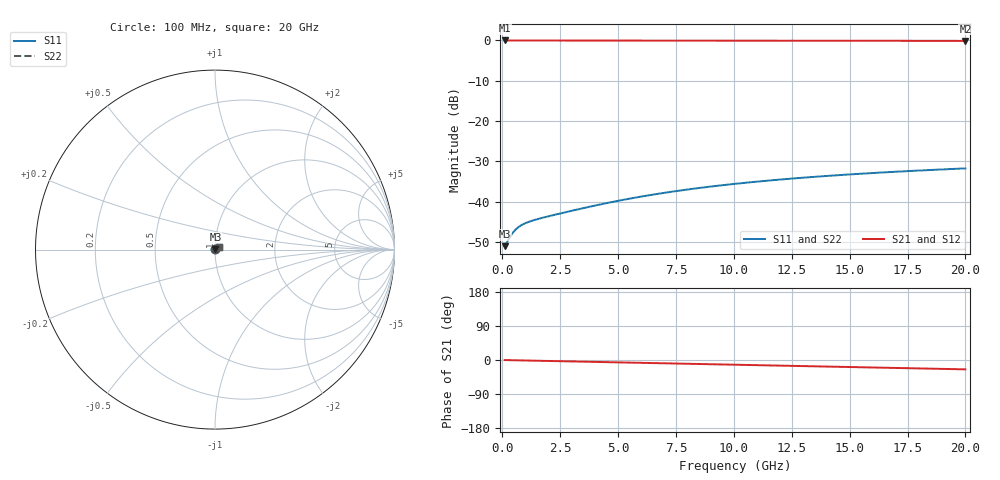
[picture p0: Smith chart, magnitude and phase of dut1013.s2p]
! Touchstone file exported from HFSS 2026.1.0
!  File:  C:/ffzhzh/LocalFiles/Ansys_Project_Files/temp_train_TMRDL_1013_1783159721_22436.aedt
!  Generated:  06:09:48 PM Jul  4, 2026
!  Design:  TMRDL
!  Project:  temp_train_TMRDL_1013_1783159721_22436
! Variables:
!  h_bsmrdl = 2um
!  h_ox = 20um
!  h_rdl = 5um
!  h_sub = 80um
!  h_tmrdl = 2.6um
!  h_tsv = 80um
!  h_via = 3um
!  l_bsmrdl = 300um
!  l_sub = 830.17um
!  l_tmrdl = 430.17um
!  m_sub = 200um
!  pitch = 28.18um
!  r_tsv = 6um
!  s_tmrdl = 10um
!  w_bsmrdl = 18um
!  w_sub = 500um
!  w_tmrdl = 24.17um
!  x_tsv_center1 = 442.255um
!  x_tsv_center2 = 760.255um
!  x_tsv_center3 = 1214.595um
!  x_tsv_center4 = 1532.595um
!  x_tsv_center5 = 1986.935um
!  x_tsv_center6 = 2304.935um
# GHz S MA R 50.000000
! Terminal data exported
! Port[1] = TM_RDL1_1_T1
! Port[2] = TM_RDL1_1_T2
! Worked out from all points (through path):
!   200 points, 100 MHz to 20 GHz, reference 50 ohm
!   highest |S21| = -0.02 dB at 100 MHz (marker M1); lowest = -0.1 dB at 20 GHz (marker M2)
!   group delay of S21, straight-line fit = 3.42 ps
!   lowest |S11| = -51.0 dB at 100 MHz (marker M3), VSWR 1.01, Z = 50.3 + j0.058 ohm
!   |S11| at or under -10 dB: start of sweep to end of sweep
!   |S22| runs from -51.0 to -31.7 dB; largest |S21 - S12| = 2.5e-15
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0.1  0.002823 11.8  0.9972 -0.2  0.9972 -0.2  0.002823 11.8
! Gamma 0 0 0 0
! Port Impedance 50 0 50 0
0.2  0.00314 20.4  0.997 -0.3  0.997 -0.3  0.003145 20.4
0.3  0.003539 25.5  0.9968 -0.4  0.9968 -0.4  0.003547 25.4
0.4  0.003938 28.2  0.9965 -0.6  0.9965 -0.6  0.003947 27.9
0.5  0.004297 29.4  0.9962 -0.7  0.9962 -0.7  0.004306 29.1
0.6  0.004605 30.0  0.996 -0.8  0.996 -0.8  0.004613 29.6
0.7  0.004867 30.3  0.9958 -1.0  0.9958 -1.0  0.004873 29.8
0.9  0.005278 30.5  0.9955 -1.2  0.9955 -1.2  0.005282 30.1
1.2  0.005727 31.3  0.9952 -1.6  0.9952 -1.6  0.005729 30.9
1.6  0.006195 32.9  0.995 -2.1  0.995 -2.1  0.006194 32.6
2.4  0.007062 37.0  0.9946 -3.1  0.9946 -3.1  0.007059 36.9
3.5  0.008357 41.7  0.9942 -4.4  0.9942 -4.4  0.008353 41.7
4.4  0.009504 44.3  0.9938 -5.6  0.9938 -5.6  0.009499 44.3
5.2  0.01056 45.7  0.9935 -6.6  0.9935 -6.6  0.01055 45.7
6.8  0.01267 46.7  0.9927 -8.5  0.9927 -8.5  0.01266 46.8
8.4  0.01472 46.3  0.9918 -10.5  0.9918 -10.5  0.0147 46.4
10.1  0.01677 45.1  0.9909 -12.6  0.9909 -12.6  0.01675 45.2
11.7  0.01856 43.5  0.99 -14.6  0.99 -14.6  0.01853 43.6
13.4  0.02032 41.5  0.989 -16.7  0.989 -16.7  0.02029 41.7
15  0.02185 39.6  0.9882 -18.6  0.9882 -18.6  0.02181 39.8
16.7  0.02335 37.5  0.9873 -20.7  0.9873 -20.7  0.0233 37.8
20  0.02594 33.5  0.9857 -24.7  0.9857 -24.7  0.02587 33.8
